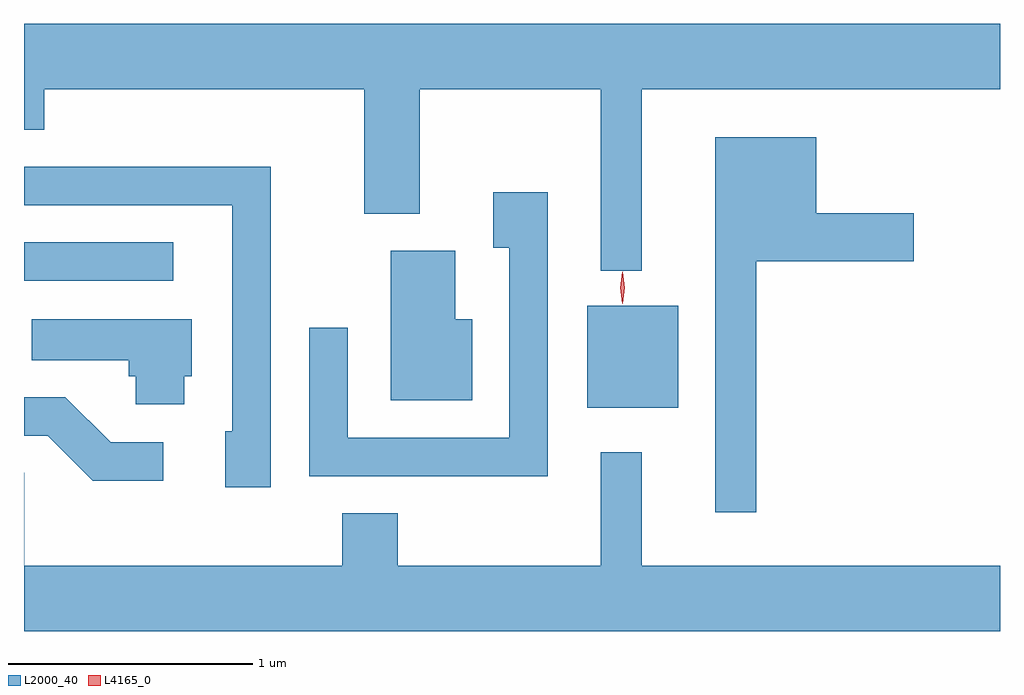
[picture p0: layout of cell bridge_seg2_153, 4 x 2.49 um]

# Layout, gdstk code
import gdstk
lib = gdstk.Library(unit=1e-6, precision=1e-09)
def R(c, l, rs):  # rectangles x0, y0, x1, y1
    for r in rs: c.add(gdstk.rectangle(r[:2], r[2:], *l))
def P(c, l, *ps):  # polygons
    for p in ps: c.add(gdstk.Polygon(p, *l))
L2000_40 = (2000, 40)
L4165_0 = (4165, 0)

bridge_seg2_153 = lib.new_cell('bridge_seg2_153')
R(bridge_seg2_153, L2000_40, [(864.276,1064.771,864.649,1065.189), (861.967,1065.291,862.578,1065.449)])
P(bridge_seg2_153, L2000_40, [(864.499,1066.076),(865.967,1066.076),(865.967,1066.344),(861.967,1066.344),(861.967,1065.911),(862.049,1065.911),(862.049,1066.076),(863.361,1066.076),(863.361,1065.566),(863.589,1065.566),(863.589,1066.076),(864.331,1066.076),(864.331,1065.333),(864.499,1065.333)],
  [(864.969,1065.371),(865.614,1065.371),(865.614,1065.569),(865.214,1065.569),(865.214,1065.879),(864.801,1065.879),(864.801,1064.343),(864.969,1064.343)],
  [(862.979,1065.759),(861.967,1065.759),(861.967,1065.601),(862.821,1065.601),(862.821,1064.674),(862.791,1064.674),(862.791,1064.446),(862.979,1064.446)],
  [(864.114,1065.654),(863.891,1065.654),(863.891,1065.426),(863.956,1065.426),(863.956,1064.649),(863.294,1064.649),(863.294,1065.098),(863.136,1065.098),(863.136,1064.491),(864.114,1064.491)],
  [(863.804,1065.134),(863.734,1065.134),(863.734,1065.414),(863.471,1065.414),(863.471,1064.801),(863.804,1064.801)],
  [(862.624,1064.901),(862.654,1064.901),(862.654,1065.134),(861.998,1065.134),(861.998,1064.966),(862.396,1064.966),(862.396,1064.901),(862.426,1064.901),(862.426,1064.786),(862.624,1064.786)],
  [(862.538,1064.629),(862.322,1064.629),(862.137,1064.814),(861.967,1064.814),(861.967,1064.656),(862.064,1064.656),(862.249,1064.471),(862.538,1064.471)],
  [(865.967,1064.124),(864.499,1064.124),(864.499,1064.588),(864.331,1064.588),(864.331,1064.124),(863.499,1064.124),(863.499,1064.339),(863.271,1064.339),(863.271,1064.124),(861.969,1064.124),(861.969,1064.504),(861.967,1064.504),(861.967,1063.856),(865.967,1063.856)])
P(bridge_seg2_153, L4165_0, [(864.42,1065.198),(864.419,1065.199),(864.41,1065.263),(864.419,1065.327),(864.42,1065.328),(864.42,1065.327),(864.43,1065.263),(864.42,1065.199)])

lib.write_gds('bridge_seg2_153.gds')
